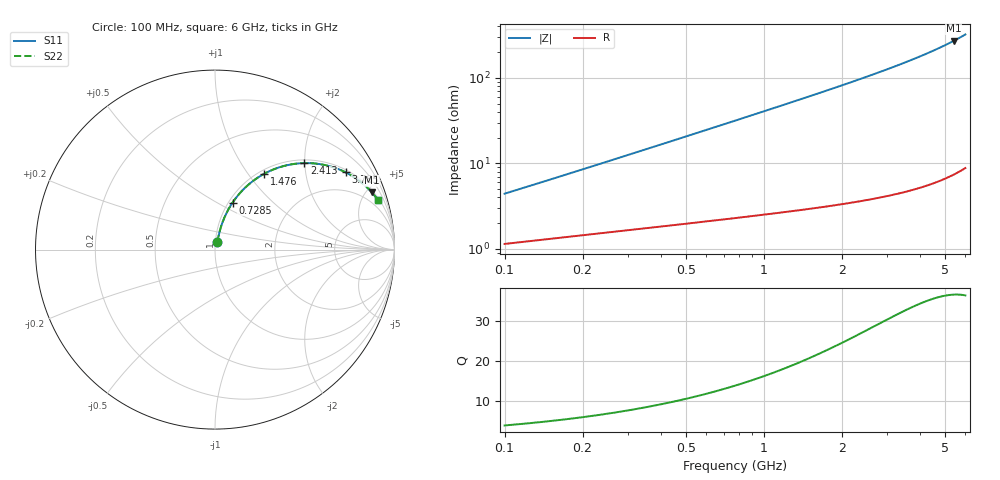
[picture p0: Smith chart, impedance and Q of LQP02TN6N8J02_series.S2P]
!Murata Part Number: LQP02TN6N8J02
!These Parameters are Measured in Series Mode Connection
!  o--[+]--o
!Port1  Port2
!  o-------o
!Freq. Start=100[MHz] Stop=6[GHz], 401[Steps]
# Hz S RI R 50
!Freq.(Hz)	S 11(Real)	S 11(Imag)	S 21(Real)	S 21(Imag)	S 12(Real)	S 12(Imag)	S 22(Real)	S 22(Imag)
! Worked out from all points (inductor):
!   401 points, 100 MHz to 6 GHz, reference 50 ohm
!   read as one part in series: L = 6.75 nH near 102.1 MHz
!   highest Q = 36.7 at 5.416 GHz (marker M1), where L = 7.99 nH
!   S11 on the Smith chart (normalised r, x): 100 MHz: 1.02, +0.09; 728.5 MHz: 1.04, +0.59; 1.476 GHz: 1.06, +1.20; 2.413 GHz: 1.07, +1.99; 3.785 GHz: 1.10, +3.32; 6 GHz: 1.18, +6.45
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1e8  0.013 0.0416  0.987 -0.0416  0.987 -0.0416  0.013 0.0416
1.41626e8  0.0161 0.0582  0.9839 -0.0582  0.9839 -0.0582  0.0161 0.0582
1.905719e8  0.0201 0.0773  0.9799 -0.0773  0.9799 -0.0773  0.0201 0.0773
2.512373e8  0.0257 0.1005  0.9743 -0.1005  0.9743 -0.1005  0.0257 0.1005
3.211982e8  0.0332 0.1265  0.9668 -0.1265  0.9668 -0.1265  0.0332 0.1265
4.023198e8  0.0433 0.1558  0.9567 -0.1558  0.9567 -0.1558  0.0433 0.1558
4.987976e8  0.0572 0.1891  0.9428 -0.1891  0.9428 -0.1891  0.0572 0.1891
6.058799e8  0.0749 0.2242  0.9251 -0.2242  0.9251 -0.2242  0.0749 0.2242
7.284561e8  0.0978 0.2617  0.9022 -0.2617  0.9022 -0.2617  0.0978 0.2617
8.939452e8  0.1324 0.3073  0.8676 -0.3073  0.8676 -0.3073  0.1324 0.3073
1.085858e9  0.1765 0.353  0.8235 -0.353  0.8235 -0.353  0.1765 0.353
1.266059e9  0.2206 0.3888  0.7794 -0.3888  0.7794 -0.3888  0.2206 0.3888
1.476163e9  0.2736 0.4221  0.7264 -0.4221  0.7264 -0.4221  0.2736 0.4221
1.756733e9  0.3444 0.4537  0.6556 -0.4537  0.6556 -0.4537  0.3444 0.4537
2.06934e9  0.4205 0.4741  0.5795 -0.4741  0.5795 -0.4741  0.4205 0.4741
2.412752e9  0.4978 0.482  0.5022 -0.482  0.5022 -0.482  0.4978 0.482
3.053207e9  0.6208 0.4692  0.3792 -0.4692  0.3792 -0.4692  0.6208 0.4692
3.785378e9  0.7282 0.4303  0.2718 -0.4303  0.2718 -0.4303  0.7282 0.4303
4.066557e9  0.7613 0.4121  0.2387 -0.4121  0.2387 -0.4121  0.7613 0.4121
5.041733e9  0.8493 0.3443  0.1507 -0.3443  0.1507 -0.3443  0.8493 0.3443
5.416235e9  0.8743 0.3181  0.1257 -0.3181  0.1257 -0.3181  0.8743 0.3181
6e9  0.906 0.2784  0.094 -0.2784  0.094 -0.2784  0.906 0.2784
